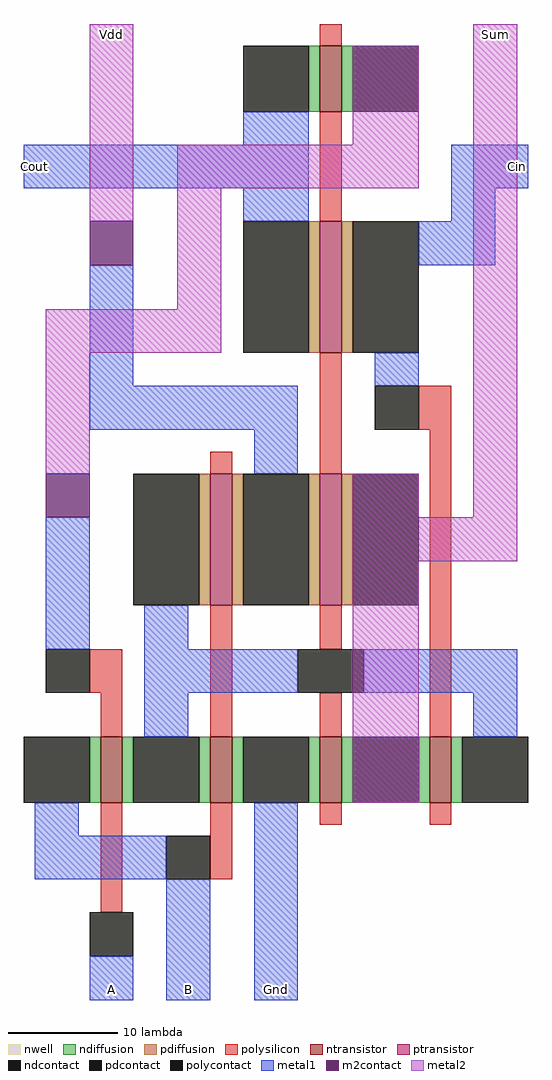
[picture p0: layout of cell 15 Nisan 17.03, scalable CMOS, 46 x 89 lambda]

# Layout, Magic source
magic
tech scmos
<< nwell >>
rect -6 45 10 57
rect -16 22 10 34
<< polysilicon >>
rect 1 73 3 75
rect 1 57 3 67
rect -9 34 -7 36
rect 1 34 3 45
rect 10 38 13 42
rect -20 14 -17 18
rect -19 10 -17 14
rect -9 10 -7 22
rect 1 18 3 22
rect 1 10 3 14
rect 11 10 13 38
rect -19 -6 -17 4
rect -9 -3 -7 4
rect 1 2 3 4
rect 11 2 13 4
<< ndiffusion >>
rect 0 67 1 73
rect 3 67 4 73
rect -20 4 -19 10
rect -17 4 -16 10
rect -10 4 -9 10
rect -7 4 -6 10
rect 0 4 1 10
rect 3 4 4 10
rect 10 4 11 10
rect 13 4 14 10
<< pdiffusion >>
rect 0 45 1 57
rect 3 45 4 57
rect -10 22 -9 34
rect -7 22 -6 34
rect 0 22 1 34
rect 3 22 4 34
<< metal1 >>
rect -6 64 0 67
rect -26 60 0 64
rect -6 57 0 60
rect 13 60 20 64
rect 13 57 17 60
rect -20 42 -16 53
rect 10 53 17 57
rect 6 42 10 45
rect -20 38 -1 42
rect -5 34 -1 38
rect -24 18 -20 30
rect -15 18 -11 22
rect -15 14 -1 18
rect 5 14 19 18
rect -15 10 -11 14
rect 15 10 19 14
rect -25 1 -21 4
rect -25 -3 -13 1
rect -20 -14 -16 -10
rect -13 -14 -9 -3
rect -5 -14 -1 4
<< metal2 >>
rect -20 57 -16 75
rect 4 64 10 73
rect -12 60 10 64
rect -12 49 -8 60
rect -24 45 -8 49
rect -24 34 -20 45
rect 4 30 10 34
rect 15 30 19 75
rect 4 26 19 30
rect 4 4 10 26
<< ntransistor >>
rect 1 67 3 73
rect -19 4 -17 10
rect -9 4 -7 10
rect 1 4 3 10
rect 11 4 13 10
<< ptransistor >>
rect 1 45 3 57
rect -9 22 -7 34
rect 1 22 3 34
<< polycontact >>
rect 6 38 10 42
rect -24 14 -20 18
rect -1 14 5 18
rect -13 -3 -9 1
rect -20 -10 -16 -6
<< ndcontact >>
rect -6 67 0 73
rect 4 67 10 73
rect -26 4 -20 10
rect -16 4 -10 10
rect -6 4 0 10
rect 4 4 10 10
rect 14 4 20 10
<< pdcontact >>
rect -6 45 0 57
rect 4 45 10 57
rect -16 22 -10 34
rect -6 22 0 34
rect 4 22 10 34
<< m2contact >>
rect -20 53 -16 57
rect -24 30 -20 34
<< labels >>
rlabel metal1 -18 -13 -18 -13 1 A
rlabel metal1 -11 -13 -11 -13 1 B
rlabel metal1 -25 62 -25 62 3 Cout
rlabel metal1 19 62 19 62 7 Cin
rlabel metal1 -3 -13 -3 -13 1 Gnd
rlabel metal2 -18 74 -18 74 5 Vdd
rlabel metal2 17 74 17 74 6 Sum
<< end >>
